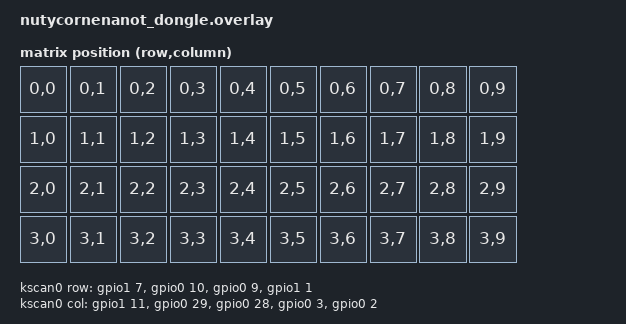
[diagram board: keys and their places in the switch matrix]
#include <dt-bindings/zmk/matrix_transform.h>
#include <input/processors.dtsi>  
#include <dt-bindings/zmk/input_transform.h>
#include <zephyr/dt-bindings/input/input-event-codes.h>
#include "nutycornenanot.dtsi" 
#include "nutycornenanot-layouts.dtsi"

&physical_layout0 {
    transform = <&default_transform>;
};

/ {

    kscan0{
        status = "disabled";
        row-gpios
            = <&gpio1  7 (GPIO_ACTIVE_HIGH)>
            , <&gpio0 10 (GPIO_ACTIVE_HIGH)>
            , <&gpio0  9 (GPIO_ACTIVE_HIGH)>
            , <&gpio1  1 (GPIO_ACTIVE_HIGH)>
            ;
        col-gpios
            = <&gpio1 11 (GPIO_ACTIVE_HIGH | GPIO_PULL_DOWN)>
            , <&gpio0 29 (GPIO_ACTIVE_HIGH | GPIO_PULL_DOWN)>
            , <&gpio0 28 (GPIO_ACTIVE_HIGH | GPIO_PULL_DOWN)>
            , <&gpio0  3 (GPIO_ACTIVE_HIGH | GPIO_PULL_DOWN)>
            , <&gpio0  2 (GPIO_ACTIVE_HIGH | GPIO_PULL_DOWN)>
            ;
    };

    chosen {
        zmk,kscan = &mock_kscan;
        zmk,physical-layout = &physical_layout0;
    };

    mock_kscan: mock_kscan_0 {
        compatible = "zmk,kscan-mock";
        columns = <0>;
        rows = <0>;
        events = <0>;
    };

    default_transform: keymap_transform_0 {
		compatible = "zmk,matrix-transform";
		columns = <10>;
		rows = <4>;
		map = <
                RC(0,0) RC(0,1) RC(0,2) RC(0,3) RC(0,4) RC(0,5)  RC(0,6) RC(0,7) RC(0,8)  RC(0,9)   
                RC(1,0) RC(1,1) RC(1,2) RC(1,3) RC(1,4) RC(1,5)  RC(1,6) RC(1,7) RC(1,8)  RC(1,9)   
                RC(2,0) RC(2,1) RC(2,2) RC(2,3) RC(2,4) RC(2,5)  RC(2,6) RC(2,7) RC(2,8)  RC(2,9)   
                RC(3,0) RC(3,1) RC(3,2) RC(3,3) RC(3,4) RC(3,5)  RC(3,6) RC(3,7) RC(3,8)  RC(3,9)   
		>;
	};
};



